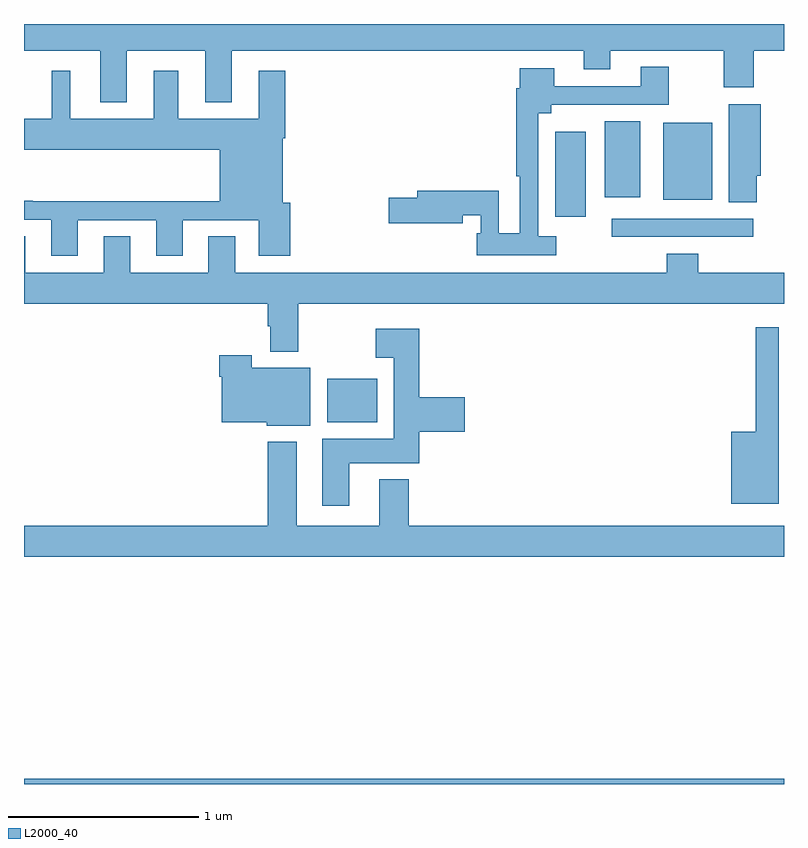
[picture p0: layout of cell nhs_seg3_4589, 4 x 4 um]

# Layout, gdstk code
import gdstk
lib = gdstk.Library(unit=1e-6, precision=1e-09)
def R(c, l, rs):  # rectangles x0, y0, x1, y1
    for r in rs: c.add(gdstk.rectangle(r[:2], r[2:], *l))
def P(c, l, *ps):  # polygons
    for p in ps: c.add(gdstk.Polygon(p, *l))
L2000_40 = (2000, 40)

nhs_seg3_4589 = lib.new_cell('nhs_seg3_4589')
R(nhs_seg3_4589, L2000_40, [(357,686.4,361,686.428), (358.595,688.304,358.858,688.534), (360.093,689.28,360.838,689.376), (359.795,689.385,359.956,689.833), (360.365,689.474,360.622,689.881), (360.056,689.489,360.244,689.887)])
P(nhs_seg3_4589, L2000_40, [(357.541,690.26),(357.953,690.26),(357.953,689.987),(358.093,689.987),(358.093,690.26),(359.945,690.26),(359.945,690.161),(360.085,690.161),(360.085,690.26),(360.682,690.26),(360.682,690.066),(360.842,690.066),(360.842,690.26),(361,690.26),(361,690.4),(357,690.4),(357,690.26),(357.401,690.26),(357.401,689.987),(357.541,689.987)],
  [(359.8,689.284),(359.706,689.284),(359.706,689.93),(359.776,689.93),(359.776,689.976),(360.393,689.976),(360.393,690.175),(360.245,690.175),(360.245,690.072),(359.791,690.072),(359.791,690.166),(359.609,690.166),(359.609,690.062),(359.59,690.062),(359.59,689.599),(359.61,689.599),(359.61,689.3),(359.499,689.3),(359.499,689.522),(359.069,689.522),(359.069,689.486),(358.92,689.486),(358.92,689.351),(359.308,689.351),(359.308,689.394),(359.403,689.394),(359.403,689.298),(359.383,689.298),(359.383,689.184),(359.8,689.184)],
  [(357.283,689.367),(357.695,689.367),(357.695,689.181),(357.835,689.181),(357.835,689.367),(358.235,689.367),(358.235,689.181),(358.4,689.181),(358.4,689.46),(358.363,689.46),(358.363,689.798),(358.376,689.798),(358.376,690.154),(358.235,690.154),(358.235,689.902),(357.811,689.902),(357.811,690.154),(357.683,690.154),(357.683,689.902),(357.244,689.902),(357.244,690.154),(357.146,690.154),(357.146,689.902),(357,689.902),(357,689.738),(358.031,689.738),(358.031,689.468),(357.047,689.468),(357.047,689.471),(357,689.471),(357,689.37),(357.143,689.37),(357.143,689.181),(357.283,689.181)],
  [(360.857,689.601),(360.878,689.601),(360.878,689.977),(360.71,689.977),(360.71,689.461),(360.857,689.461)],
  [(358.443,688.928),(361,688.928),(361,689.092),(360.548,689.092),(360.548,689.191),(360.383,689.191),(360.383,689.092),(358.111,689.092),(358.111,689.282),(357.971,689.282),(357.971,689.092),(357.559,689.092),(357.559,689.282),(357.419,689.282),(357.419,689.092),(357.007,689.092),(357.007,689.282),(357,689.282),(357,688.928),(358.283,688.928),(358.283,688.808),(358.295,688.808),(358.295,688.676),(358.443,688.676)],
  [(360.973,688.804),(360.852,688.804),(360.852,688.255),(360.722,688.255),(360.722,687.875),(360.973,687.875)],
  [(358.711,688.088),(359.081,688.088),(359.081,688.253),(359.32,688.253),(359.32,688.436),(359.081,688.436),(359.081,688.795),(358.851,688.795),(358.851,688.643),(358.946,688.643),(358.946,688.216),(358.571,688.216),(358.571,687.864),(358.711,687.864)],
  [(358.507,688.591),(358.198,688.591),(358.198,688.657),(358.028,688.657),(358.028,688.544),(358.04,688.544),(358.04,688.304),(358.278,688.304),(358.278,688.286),(358.507,688.286)],
  [(361,687.76),(359.024,687.76),(359.024,688.003),(358.871,688.003),(358.871,687.76),(358.435,687.76),(358.435,688.201),(358.283,688.201),(358.283,687.76),(357,687.76),(357,687.596),(361,687.596)])

lib.write_gds('nhs_seg3_4589.gds')
